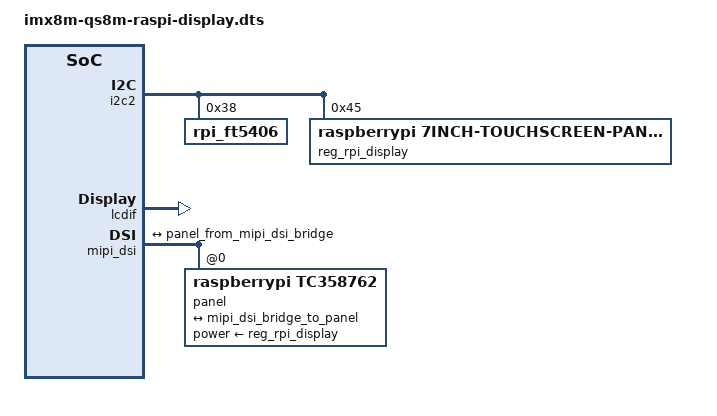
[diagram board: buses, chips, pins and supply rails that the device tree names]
// SPDX-License-Identifier: (GPL-2.0 OR MIT)
/*
 * Copyright 2022 Lothar Waßmann <LW@KARO-electronics.de>
 *
 */

/dts-v1/;

/plugin/;

&{/chosen} {
	overlays {
		qs8m-raspi-display;
	};
};

&i2c2 {
	status = "okay";

	rpi_ft5406: rpi_ft5406@38 {
		compatible = "rpi_ft5406";
		reg = <0x38>;
	};

	reg_rpi_display: regulator-rpi-display@45 {
		compatible = "raspberrypi,7inch-touchscreen-panel-regulator";
		reg = <0x45>;
		regulator-min-microvolt = <3300000>;
		regulator-max-microvolt = <3300000>;
	};
};

&lcdif {
	status = "okay";
};

&mipi_dsi {
	status = "okay";

	panel@0 {
		compatible = "raspberrypi,tc358762";
		reg = <0>;
		dsi-lanes = <1>;
		video-mode = <2>;
		panel-width-mm = <154>;
		panel-height-mm = <86>;
		power-supply = <&reg_rpi_display>;
		status = "okay";

		port {
			panel_from_mipi_dsi_bridge: endpoint {
				remote-endpoint = <&mipi_dsi_bridge_to_panel>;
			};
		};
	};

	port@1 {
		reg = <1>;

		mipi_dsi_bridge_to_panel: endpoint {
			remote-endpoint = <&panel_from_mipi_dsi_bridge>;
		};
	};
};
